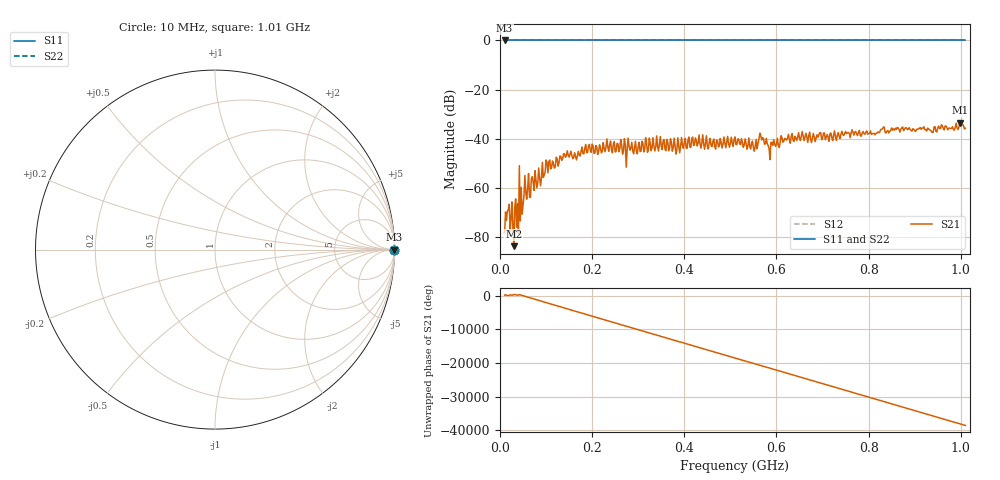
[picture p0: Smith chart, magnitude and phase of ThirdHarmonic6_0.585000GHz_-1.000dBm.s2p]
! 8/15/2025 6:56:56 PM
! C:\ANRITSUVNA\TEMP\TEMP.S2P
! CHANNEL.1
! TR.MEASUREMENT
! RAW.DATA
! RF.CORRECTION.OFF
! AVERAGING.OFF
! IF.BANDWIDTH: 5KHZ
! SWEEPTYPE:  FREQ.SWEEP(Linear)
! Reference Plane Port Info
! PORT:  PORT1  PORT2
! DISTANCE:  0  m  0  m
! TIME:  0  s  0  s
! PHASE.OFFSET:  0  deg.  0  deg.
! LOSS:  0  dB  0  dB
! REF.LOSS:  0  dB  0  dB
! REF.FREQ:  0  Hz  0  Hz
! Power Info
! POWER:  -20  dBm  -20  dBm
! EFF.POWER:  -20  dBm  -20  dBm
! SOURCE.ATTEN:  0  dB  0  dB
! TEST.ATTEN:  0  dB  0  dB
# GHZ S RI R 50.0
! FREQ.GHZ  S11RE  S11IM  S21RE  S21IM  S12RE  S12IM  S22RE  S22IM
!; PortSelection: Port_12
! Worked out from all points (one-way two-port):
!   501 points, 10 MHz to 1.01 GHz, reference 50 ohm
!   highest |S21| = -33.54 dB at 998 MHz (marker M1); lowest = -83.9 dB at 30 MHz (marker M2)
!   lowest |S11| = 0.0 dB at 10 MHz (marker M3)
!   |S11| at or under -10 dB: nowhere
!   |S22| runs from 0.0 to 0.0 dB; largest |S21 - S12| = 1
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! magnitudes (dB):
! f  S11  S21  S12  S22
! 10 MHz  0.0  -78.4  0.0  0.0
! 16 MHz  0.0  -69.6  0.0  0.0
! 26 MHz  0.0  -65.8  0.0  0.0
! 30 MHz  0.0  -83.9  0.0  0.0
! 32 MHz  0.0  -68.1  0.0  0.0
! 46 MHz  0.0  -59.9  0.0  0.0
! 48 MHz  0.0  -70.9  0.0  0.0
! 58 MHz  0.0  -64.7  0.0  0.0
! 62 MHz  0.0  -54.3  0.0  0.0
! 72 MHz  0.0  -57.7  0.0  0.0
! 84 MHz  0.0  -52.0  0.0  0.0
! 104 MHz  0.0  -54.0  0.0  0.0
! 178 MHz  0.0  -43.5  0.0  0.0
! 344 MHz  0.0  -45.1  0.0  0.0
! 510 MHz  0.0  -39.3  0.0  0.0
! 554 MHz  0.0  -42.9  0.0  0.0
! 568 MHz  0.0  -40.6  0.0  0.0
! 584 MHz  0.0  -44.1  0.0  0.0
! 678 MHz  0.0  -39.7  0.0  0.0
! 844 MHz  0.0  -37.7  0.0  0.0
! 998 MHz  0.0  -33.5  0.0  0.0
! 1.01 GHz  0.0  -35.8  0.0  0.0
